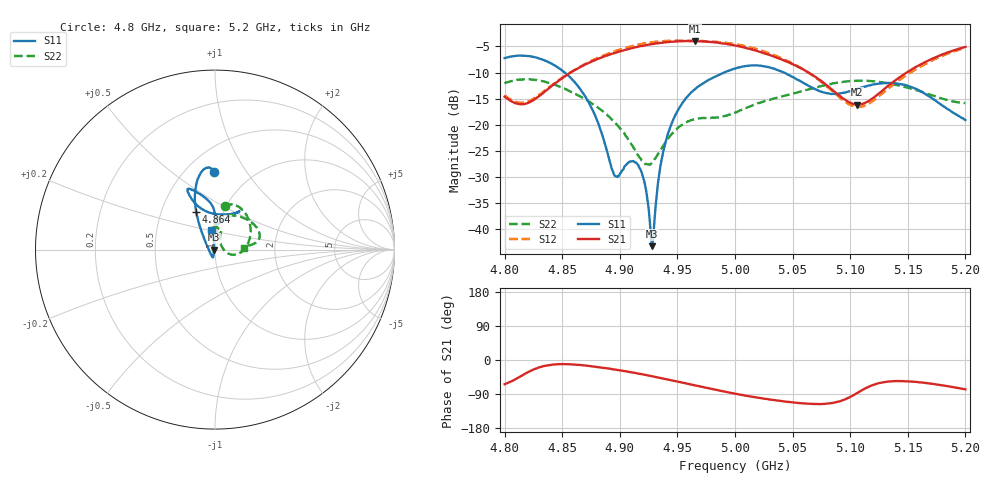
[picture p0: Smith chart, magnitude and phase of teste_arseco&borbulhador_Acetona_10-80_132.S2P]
! Network Analyzer HP8722D
! Hewlett-Packard
! Data name: Linha & Wilkinson
! Saver's name: Rodrigo Anjos
! Comments: Teste da utilização de aquisição
! continua pelo VNA HP8722D
! Time and date: 25/4/2025 16:22
!  Frequency  S11  S21  S12  S22
# HZ  S  MA R 50
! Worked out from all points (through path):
!   401 points, 4.8 GHz to 5.2 GHz, reference 50 ohm
!   highest |S21| = -3.96 dB at 4.965 GHz (marker M1); lowest = -16.1 dB at 5.106 GHz (marker M2)
!   lowest |S11| = -43.2 dB at 4.928 GHz (marker M3), VSWR 1.01, Z = 49.3 - j0.0852 ohm
!   |S11| at or under -10 dB: 4.852 GHz to 4.991 GHz (138.4 MHz wide, 2.81 % of centre); 5.042 GHz to end of sweep
!   |S22| runs from -27.7 to -11.3 dB; largest |S21 - S12| = 1.2
!   S11 on the Smith chart (normalised r, x): 4.8 GHz: 0.68, +0.72; 4.864 GHz: 0.75, +0.33; 5.2 GHz: 0.94, +0.21
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4.8e9  0.4346 90.8  0.1854 -64.0  0.1913 69.6  0.2482 77.5
4.82e9  0.4538 97.0  0.1612 -32.5  0.1668 98.2  0.2721 61.9
4.864e9  0.2321 116.7  0.3486 -12.7  0.3519 121.1  0.1906 12.1
4.867e9  0.2092 118.4  0.3634 -13.7  0.3663 120.9  0.1835 8.9
4.88e9  0.1119 128.8  0.4226 -18.2  0.4314 118.2  0.1484 -5.0
4.896e9  0.03228 -166.5  0.4865 -25.3  0.5064 113.2  0.1046 -15.8
4.909e9  0.04458 -107.2  0.5354 -32.0  0.5597 107.7  0.06771 -14.4
4.917e9  0.03884 -102.8  0.5617 -36.4  0.5886 103.6  0.04875 -1.7
4.922e9  0.02633 -107.2  0.5763 -39.2  0.6021 100.8  0.04207 15.4
4.928e9  0.0069 -172.8  0.5919 -42.9  0.6163 97.2  0.04385 41.1
4.93e9  0.01178 123.9  0.5961 -44.0  0.6194 95.8  0.0466 47.7
4.934e9  0.03233 99.3  0.6039 -46.6  0.6283 93.4  0.05445 58.0
4.939e9  0.06351 93.1  0.6149 -49.7  0.6347 90.0  0.06625 65.8
4.945e9  0.1029 90.2  0.6226 -53.8  0.6379 86.3  0.08155 69.6
4.965e9  0.2177 91.1  0.6336 -66.9  0.6371 73.5  0.1129 71.9
5e9  0.3456 109.1  0.5746 -88.9  0.5924 50.8  0.1308 88.6
5.029e9  0.3563 115.3  0.4702 -103.7  0.4857 34.3  0.1725 86.0
5.067e9  0.2271 105.3  0.301 -115.9  0.2988 23.6  0.2227 57.3
5.106e9  0.2202 64.7  0.1561 -87.3  0.148 55.9  0.2633 24.9
5.134e9  0.2513 57.4  0.2409 -56.6  0.2261 88.7  0.2481 12.4
5.169e9  0.1857 69.9  0.4174 -61.9  0.4016 85.0  0.1948 6.9
5.2e9  0.111 100.4  0.5555 -77.4  0.5438 70.2  0.1615 3.8
